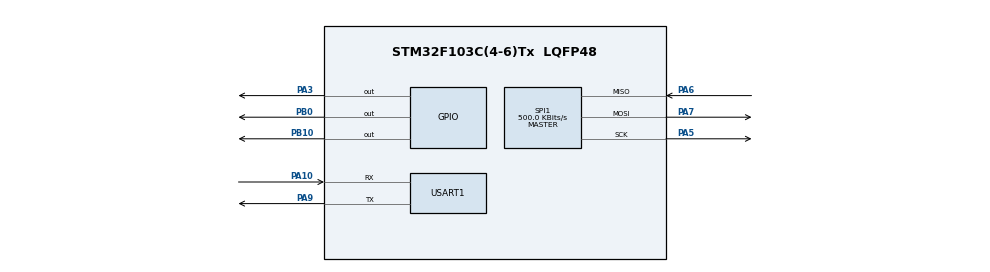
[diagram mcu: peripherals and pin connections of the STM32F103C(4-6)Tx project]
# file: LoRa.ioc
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Mcu.Family=STM32F1
Mcu.Name=STM32F103C(4-6)Tx
Mcu.Package=LQFP48
NVIC.PriorityGroup=NVIC_PRIORITYGROUP_4
PA10.Mode=Asynchronous
PA10.Signal=USART1_RX
PA3.Signal=GPIO_Output
PA5.Mode=Full_Duplex_Master
PA5.Signal=SPI1_SCK
PA6.Mode=Full_Duplex_Master
PA6.Signal=SPI1_MISO
PA7.Mode=Full_Duplex_Master
PA7.Signal=SPI1_MOSI
PA9.Mode=Asynchronous
PA9.Signal=USART1_TX
PB0.Signal=GPIO_Output
PB10.Signal=GPIO_Output
ProjectManager.HeapSize=0x200
ProjectManager.StackSize=0x400
ProjectManager.TargetToolchain=STM32CubeIDE
RCC.APB1Freq_Value=8000000
RCC.APB2Freq_Value=8000000
SPI1.BaudRatePrescaler=SPI_BAUDRATEPRESCALER_16
SPI1.CalculateBaudRate=500.0 KBits/s
SPI1.Direction=SPI_DIRECTION_2LINES
SPI1.FirstBit=SPI_FIRSTBIT_MSB
SPI1.Mode=SPI_MODE_MASTER
SPI1.VirtualType=VM_MASTER
USART1.VirtualMode=VM_ASYNC
board=custom

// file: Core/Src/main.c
/* USER CODE BEGIN Header */
/**
  ******************************************************************************
  * @file           : main.c
  * @brief          : Main program body
  ******************************************************************************
  * @attention
  *
  * Copyright (c) 2024 STMicroelectronics.
  * All rights reserved.
  *
  * This software is licensed under terms that can be found in the LICENSE file
  * in the root directory of this software component.
  * If no LICENSE file comes with this software, it is provided AS-IS.
  *
  ******************************************************************************
  */
/* USER CODE END Header */
#include "main.h"

/* USER CODE BEGIN Includes */
#include "LoRa1.h"
/* USER CODE END Includes */

SPI_HandleTypeDef hspi1;

UART_HandleTypeDef huart1;

void SystemClock_Config(void);
static void MX_GPIO_Init(void);
static void MX_SPI1_Init(void);
static void MX_USART1_UART_Init(void);

/* USER CODE BEGIN 0 */
// lora_pins_t lora_pins;	// Structure variable for lora pins
// lora_t lora; // Structure variable for lora config
LoRa myLoRa;
uint8_t rx_buf_uart[256];
/* USER CODE END 0 */

int main(void)
{

  /* MCU Configuration--------------------------------------------------------*/

  /* Reset of all peripherals, Initializes the Flash interface and the Systick. */
  HAL_Init();

  /* USER CODE BEGIN Init */
	myLoRa.hSPIx                 = &hspi1;
	myLoRa.CS_port               = GPIOA;
	myLoRa.CS_pin                = GPIO_PIN_3;
	myLoRa.reset_port            = GPIOA;
	myLoRa.reset_pin             = GPIO_PIN_10;
	myLoRa.DIO0_port						 = GPIOA;
	myLoRa.DIO0_pin							 = GPIO_PIN_8;

	myLoRa.frequency             = 436;							  // default = 433 MHz
	myLoRa.spredingFactor        = SF_7;							// default = SF_7
	myLoRa.bandWidth			       = BW_125KHz;				  // default = BW_125KHz
	myLoRa.crcRate				       = CR_4_5;						// default = CR_4_5
	myLoRa.power					       = POWER_14db;				// default = 20db
	myLoRa.overCurrentProtection = 100; 							// default = 100 mA
	myLoRa.preamble				       = 10;		  					// default = 8;

    // lora_pins.nss.port   = GPIOA;			// NSS pin to which port is connected
  	// lora_pins.nss.pin    = GPIO_PIN_3;	    // NSS pin to which pin is connected
  	// lora_pins.reset.port = GPIOB;			// RESET pin to which port is connected
  	// lora_pins.reset.pin  = GPIO_PIN_10;		// RESET pin to which pin is connected
  	// lora_pins.spi  		 = &hspi1;
  	// lora.pin = &lora_pins;
  	// lora.frequency       = 433E6;
    // lora.sf       = SF_10;
    // lora.bandWidth = BW_125KHz;
    // lora.crcRate = CR_4_5;
  /* USER CODE END Init */

  /* Configure the system clock */
  SystemClock_Config();

  /* USER CODE BEGIN SysInit */
     /*
     MISO --> PA6
     MOSI --> PA7
     SCK --> PA5
     NSS --> PA3
     RX --> PA10
     TX --> PA9
     RST --> PB10
     */
  /* USER CODE END SysInit */

  /* Initialize all configured peripherals */
  MX_GPIO_Init();
  MX_SPI1_Init();
  MX_USART1_UART_Init();

  LoRa_reset(&myLoRa);
	LoRa_init(&myLoRa);
	LoRa_startReceiving(&myLoRa);
  /* USER CODE BEGIN 2 */
//  HAL_GPIO_WritePin(GPIOB, GPIO_PIN_0, GPIO_PIN_SET);
//   while(lora_init(&lora)){    // Initialize the lora module
//     HAL_Delay(1000);
//   }
//   HAL_Delay(150);
//   HAL_GPIO_WritePin(GPIOB, GPIO_PIN_0, GPIO_PIN_RESET);
  /* USER CODE END 2 */

  /* Infinite loop */
  /* USER CODE BEGIN WHILE */
  uint8_t ret;
  uint8_t tx_buf[7] = {0x12, 0x34, 0x45, 0x34, 0x45, 0x34, 0x45};
  uint8_t rx_buf[7];
  HAL_GPIO_WritePin(GPIOB, GPIO_PIN_0, GPIO_PIN_SET);
  HAL_Delay(1000);
  HAL_GPIO_WritePin(GPIOB, GPIO_PIN_0, GPIO_PIN_RESET);
  //   HAL_UART_Receive_IT(&huart1, &rx_buf_uart, 1);
  while (1)
  {
    /* USER CODE END WHILE */

    /* USER CODE BEGIN 3 */
    // TX
    HAL_GPIO_WritePin(GPIOB, GPIO_PIN_0, GPIO_PIN_SET);
    LoRa_transmit(&myLoRa, tx_buf, 7, 100);
    HAL_Delay(1000);
    HAL_GPIO_WritePin(GPIOB, GPIO_PIN_0, GPIO_PIN_RESET);
    // RX
    // HAL_GPIO_WritePin(GPIOB, GPIO_PIN_0, GPIO_PIN_SET);
    // LoRa_receive(&myLoRa, rx_buf, 7);
		// HAL_UART_Transmit(&huart1, rx_buf, ret, 1000);
    // memset(rx_buf, 0, ret);
    // HAL_GPIO_WritePin(GPIOB, GPIO_PIN_0, GPIO_PIN_RESET);

  }
  /* USER CODE END 3 */
}
void HAL_UART_RxCpltCallback(UART_HandleTypeDef *huart){
  if (huart->Instance == USART1)
  {
    HAL_UART_Receive_IT(&huart1, &rx_buf_uart, 1);
  }
}

void SystemClock_Config(void)
{
  RCC_OscInitTypeDef RCC_OscInitStruct = {0};
  RCC_ClkInitTypeDef RCC_ClkInitStruct = {0};

  /** Initializes the RCC Oscillators according to the specified parameters
  * in the RCC_OscInitTypeDef structure.
  */
  RCC_OscInitStruct.OscillatorType = RCC_OSCILLATORTYPE_HSI;
  RCC_OscInitStruct.HSIState = RCC_HSI_ON;
  RCC_OscInitStruct.HSICalibrationValue = RCC_HSICALIBRATION_DEFAULT;
  RCC_OscInitStruct.PLL.PLLState = RCC_PLL_NONE;
  if (HAL_RCC_OscConfig(&RCC_OscInitStruct) != HAL_OK)
  {
    Error_Handler();
  }

  /** Initializes the CPU, AHB and APB buses clocks
  */
  RCC_ClkInitStruct.ClockType = RCC_CLOCKTYPE_HCLK|RCC_CLOCKTYPE_SYSCLK
                              |RCC_CLOCKTYPE_PCLK1|RCC_CLOCKTYPE_PCLK2;
  RCC_ClkInitStruct.SYSCLKSource = RCC_SYSCLKSOURCE_HSI;
  RCC_ClkInitStruct.AHBCLKDivider = RCC_SYSCLK_DIV1;
  RCC_ClkInitStruct.APB1CLKDivider = RCC_HCLK_DIV1;
  RCC_ClkInitStruct.APB2CLKDivider = RCC_HCLK_DIV1;

  if (HAL_RCC_ClockConfig(&RCC_ClkInitStruct, FLASH_LATENCY_0) != HAL_OK)
  {
    Error_Handler();
  }
}

static void MX_SPI1_Init(void)
{

  /* SPI1 parameter configuration*/
  hspi1.Instance = SPI1;
  hspi1.Init.Mode = SPI_MODE_MASTER;
  hspi1.Init.Direction = SPI_DIRECTION_2LINES;
  hspi1.Init.DataSize = SPI_DATASIZE_8BIT;
  hspi1.Init.CLKPolarity = SPI_POLARITY_LOW;
  hspi1.Init.CLKPhase = SPI_PHASE_1EDGE;
  hspi1.Init.NSS = SPI_NSS_SOFT;
  hspi1.Init.BaudRatePrescaler = SPI_BAUDRATEPRESCALER_8;
  hspi1.Init.FirstBit = SPI_FIRSTBIT_MSB;
  hspi1.Init.TIMode = SPI_TIMODE_DISABLE;
  hspi1.Init.CRCCalculation = SPI_CRCCALCULATION_DISABLE;
  hspi1.Init.CRCPolynomial = 10;
  if (HAL_SPI_Init(&hspi1) != HAL_OK)
  {
    Error_Handler();
  }

}

static void MX_USART1_UART_Init(void)
{

  huart1.Instance = USART1;
  huart1.Init.BaudRate = 115200;
  huart1.Init.WordLength = UART_WORDLENGTH_8B;
  huart1.Init.StopBits = UART_STOPBITS_1;
  huart1.Init.Parity = UART_PARITY_NONE;
  huart1.Init.Mode = UART_MODE_TX_RX;
  huart1.Init.HwFlowCtl = UART_HWCONTROL_NONE;
  huart1.Init.OverSampling = UART_OVERSAMPLING_16;
  if (HAL_UART_Init(&huart1) != HAL_OK)
  {
    Error_Handler();
  }

}

static void MX_GPIO_Init(void)
{
  GPIO_InitTypeDef GPIO_InitStruct = {0};

  /* GPIO Ports Clock Enable */
  __HAL_RCC_GPIOA_CLK_ENABLE();
  __HAL_RCC_GPIOB_CLK_ENABLE();

  /*Configure GPIO pin Output Level */
  HAL_GPIO_WritePin(GPIOA, GPIO_PIN_3, GPIO_PIN_RESET);

  /*Configure GPIO pin Output Level */
  HAL_GPIO_WritePin(GPIOB, GPIO_PIN_0|GPIO_PIN_10, GPIO_PIN_RESET);

  /*Configure GPIO pin : PA3 */
  GPIO_InitStruct.Pin = GPIO_PIN_3;
  GPIO_InitStruct.Mode = GPIO_MODE_OUTPUT_PP;
  GPIO_InitStruct.Pull = GPIO_NOPULL;
  GPIO_InitStruct.Speed = GPIO_SPEED_FREQ_LOW;
  HAL_GPIO_Init(GPIOA, &GPIO_InitStruct);

  /*Configure GPIO pins : PB0 PB10 */
  GPIO_InitStruct.Pin = GPIO_PIN_0|GPIO_PIN_10;
  GPIO_InitStruct.Mode = GPIO_MODE_OUTPUT_PP;
  GPIO_InitStruct.Pull = GPIO_NOPULL;
  GPIO_InitStruct.Speed = GPIO_SPEED_FREQ_LOW;
  HAL_GPIO_Init(GPIOB, &GPIO_InitStruct);

}

void Error_Handler(void)
{
  __disable_irq();
  while (1)
  {
  }
}
